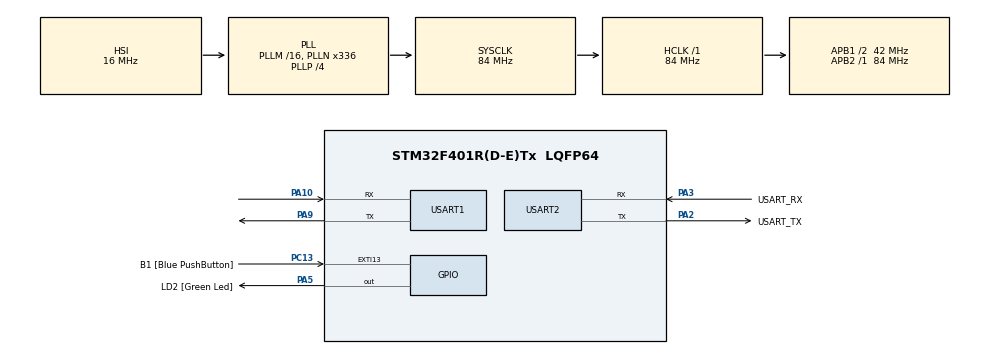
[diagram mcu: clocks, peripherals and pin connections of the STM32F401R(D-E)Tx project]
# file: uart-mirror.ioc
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MBEDTLS.MBEDTLS_RSA_C=1
Mcu.Family=STM32F4
Mcu.Name=STM32F401R(D-E)Tx
Mcu.Package=LQFP64
NVIC.PriorityGroup=NVIC_PRIORITYGROUP_0
NVIC.USART1_IRQn=true\:0\:0\:false\:false\:true\:true\:true
PA10.Mode=Asynchronous
PA10.Signal=USART1_RX
PA13.GPIO_Label=TMS
PA13.Mode=Serial_Wire
PA13.Signal=SYS_JTMS-SWDIO
PA14.GPIO_Label=TCK
PA14.Mode=Serial_Wire
PA14.Signal=SYS_JTCK-SWCLK
PA2.GPIO_Label=USART_TX
PA2.GPIO_Mode=GPIO_MODE_AF_PP
PA2.GPIO_PuPd=GPIO_NOPULL
PA2.GPIO_Speed=GPIO_SPEED_FREQ_LOW
PA2.Mode=Asynchronous
PA2.Signal=USART2_TX
PA3.GPIO_Label=USART_RX
PA3.GPIO_Mode=GPIO_MODE_AF_PP
PA3.GPIO_PuPd=GPIO_NOPULL
PA3.GPIO_Speed=GPIO_SPEED_FREQ_LOW
PA3.Mode=Asynchronous
PA3.Signal=USART2_RX
PA5.GPIO_Label=LD2 [Green Led]
PA5.GPIO_Mode=GPIO_MODE_OUTPUT_PP
PA5.GPIO_PuPd=GPIO_NOPULL
PA5.GPIO_Speed=GPIO_SPEED_FREQ_LOW
PA5.Signal=GPIO_Output
PA9.Mode=Asynchronous
PA9.Signal=USART1_TX
PB3.GPIO_Label=SWO
PB3.Signal=SYS_JTDO-SWO
PC13-ANTI_TAMP.GPIO_Label=B1 [Blue PushButton]
PC13-ANTI_TAMP.GPIO_ModeDefaultEXTI=GPIO_MODE_IT_FALLING
PC13-ANTI_TAMP.GPIO_PuPd=GPIO_NOPULL
PC13-ANTI_TAMP.Signal=GPXTI13
PC14-OSC32_IN.Mode=LSE-External-Oscillator
PC14-OSC32_IN.Signal=RCC_OSC32_IN
PC15-OSC32_OUT.Mode=LSE-External-Oscillator
PC15-OSC32_OUT.Signal=RCC_OSC32_OUT
PH0\ -\ OSC_IN.Mode=HSE-External-Clock-Source
PH0\ -\ OSC_IN.Signal=RCC_OSC_IN
PH1\ -\ OSC_OUT.Mode=HSE-External-Clock-Source
PH1\ -\ OSC_OUT.Signal=RCC_OSC_OUT
ProjectManager.HeapSize=0x200
ProjectManager.StackSize=0x400
ProjectManager.TargetToolchain=Makefile
RCC.48MHZClocksFreq_Value=48000000
RCC.AHBFreq_Value=84000000
RCC.APB1CLKDivider=RCC_HCLK_DIV2
RCC.APB1Freq_Value=42000000
RCC.APB1TimFreq_Value=84000000
RCC.APB2Freq_Value=84000000
RCC.APB2TimFreq_Value=84000000
RCC.CortexFreq_Value=84000000
RCC.HCLKFreq_Value=84000000
RCC.HSE_VALUE=8000000
RCC.HSI_VALUE=16000000
RCC.PLLN=336
RCC.PLLP=RCC_PLLP_DIV4
RCC.PLLQ=7
RCC.SYSCLKFreq_VALUE=84000000
RCC.SYSCLKSource=RCC_SYSCLKSOURCE_PLLCLK
RCC.VCOOutputFreq_Value=336000000
USART1.VirtualMode=VM_ASYNC
USART2.VirtualMode=VM_ASYNC
VP_IWDG_VS_IWDG.Mode=IWDG_Activate
VP_MBEDTLS_VS_MBEDTLS.Mode=Enabled
board=NUCLEO-F401RE

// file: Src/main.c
/* USER CODE BEGIN Header */
/**
  ******************************************************************************
  * @file           : main.c
  * @brief          : Main program body
  ******************************************************************************
  ** This notice applies to any and all portions of this file
  * that are not between comment pairs USER CODE BEGIN and
  * USER CODE END. Other portions of this file, whether
  * inserted by the user or by software development tools
  * are owned by their respective copyright owners.
  *
  * COPYRIGHT(c) 2019 STMicroelectronics
  *
  * Redistribution and use in source and binary forms, with or without modification,
  * are permitted provided that the following conditions are met:
  *   1. Redistributions of source code must retain the above copyright notice,
  *      this list of conditions and the following disclaimer.
  *   2. Redistributions in binary form must reproduce the above copyright notice,
  *      this list of conditions and the following disclaimer in the documentation
  *      and/or other materials provided with the distribution.
  *   3. Neither the name of STMicroelectronics nor the names of its contributors
  *      may be used to endorse or promote products derived from this software
  *      without specific prior written permission.
  *
  * THIS SOFTWARE IS PROVIDED BY THE COPYRIGHT HOLDERS AND CONTRIBUTORS "AS IS"
  * AND ANY EXPRESS OR IMPLIED WARRANTIES, INCLUDING, BUT NOT LIMITED TO, THE
  * IMPLIED WARRANTIES OF MERCHANTABILITY AND FITNESS FOR A PARTICULAR PURPOSE ARE
  * DISCLAIMED. IN NO EVENT SHALL THE COPYRIGHT HOLDER OR CONTRIBUTORS BE LIABLE
  * FOR ANY DIRECT, INDIRECT, INCIDENTAL, SPECIAL, EXEMPLARY, OR CONSEQUENTIAL
  * DAMAGES (INCLUDING, BUT NOT LIMITED TO, PROCUREMENT OF SUBSTITUTE GOODS OR
  * SERVICES; LOSS OF USE, DATA, OR PROFITS; OR BUSINESS INTERRUPTION) HOWEVER
  * CAUSED AND ON ANY THEORY OF LIABILITY, WHETHER IN CONTRACT, STRICT LIABILITY,
  * OR TORT (INCLUDING NEGLIGENCE OR OTHERWISE) ARISING IN ANY WAY OUT OF THE USE
  * OF THIS SOFTWARE, EVEN IF ADVISED OF THE POSSIBILITY OF SUCH DAMAGE.
  *
  ******************************************************************************
  */
/* USER CODE END Header */

#include "main.h"
#include "mbedtls.h"
#include "UART.h"

/* USER CODE BEGIN Includes */
#include <stdbool.h>
#include <time.h>
#include "mbedtls/memory_buffer_alloc.h"
#include "mbedtls/platform.h"
#include "mbedtls/md_internal.h"
#include "mbedtls/hmac_drbg.h"
#include "mbedtls/rsa.h"
#define MBEDTLS_MEMORY_VERIFY_ALLOC (1 << 0)
/* USER CODE END Includes */

IWDG_HandleTypeDef hiwdg;

UART_HandleTypeDef huart1;
UART_HandleTypeDef huart2;
mbedtls_hmac_drbg_context cont;
mbedtls_rsa_context rsa_cont;

/* USER CODE BEGIN PV */

static bool received = false;
unsigned strlen(const unsigned char* str){
  unsigned size = 0;
  for (; str[size] != '\0'; ++size);
  return size;
}
void HAL_UART_RxCpltCallback(UART_HandleTypeDef *huart)
{
  if (huart->Instance == USART1)
  {
    received = true;
  }
}

void UART_SEND(char *str) {
  HAL_UART_Transmit (&huart1, (unsigned char *)str,
      strlen((unsigned char *)str), 300);
}

void UART_SEND_LEN(const char *str, unsigned length) {
  HAL_UART_Transmit (&huart1, (unsigned char *)str,
      length, 300);
}

void myExit(int status) {
  if (status == 1)
    UART_SEND("exit with error code 1\n");
  else if (!status)
    UART_SEND("exit with normal error code\n");
  else
    UART_SEND("exit with random error code\n");
  return;
}

int mysnprintf(char* str, size_t n, const char* format, ...) {
  UART_SEND("snprintf called\n");
  return 0;
}

char convertToHexa(uint32_t u) {
  if (u <= 9)
    return u + '0';
  else if (u <= 15)
    return u - 10 + 'A';
  else {
    UART_SEND("tu code comme un pied");
    return '0';
  }
}

unsigned char val = 0;
void print_mpi_UART(mbedtls_mpi *mpi) {
  size_t n = mpi->n * 8 + 2;
  char buffer[n];
  size_t buffer_index = 0;

  for (size_t index = 0; index < mpi->n; index++) {
    uint32_t val = mpi->p[index];

    for (unsigned shift = 0; shift < 32; shift+=4) {
      buffer[buffer_index++] = convertToHexa( (val << shift) >> 28);
    }

  }

  for (; buffer_index < n; buffer_index++)
    buffer[buffer_index++] = '\0';

  UART_SEND(buffer);
}
#define DEBUG_MODE

bool keyGenerated = false;
void genKey() {
  const char *personalization = "dfajenFNXOmdfjacnI>ndfN";

  const mbedtls_md_info_t* md_info = mbedtls_md_info_from_type(MBEDTLS_MD_SHA256);

  HAL_Delay(1000);
  int error = mbedtls_hmac_drbg_seed_buf(&cont,
                                    md_info,
                                    (unsigned char *) personalization,
                                    strlen((const unsigned char*)personalization));
  //int error = mbedtls_ctr_drbg_seed(&rng_context, myfun, NULL,
  //    (unsigned char *) personalization, size);

  if (error != 0) {
    if (error == MBEDTLS_ERR_MD_BAD_INPUT_DATA) {
      UART_SEND("error1\n");
    }
    else if (error == MBEDTLS_ERR_MD_ALLOC_FAILED) {

      UART_SEND("error2\n");
    }
    else {
      UART_SEND("eror?\n");
    }

  }
  HAL_Delay(1000);
  error = mbedtls_rsa_gen_key(&rsa_cont, mbedtls_hmac_drbg_random, &cont, 1024, 65537);
  HAL_Delay(1000);

  print_mpi_UART(&rsa_cont.N);
  print_mpi_UART(&rsa_cont.E);
  UART_SEND("\n");
}

#define SHA256_SIZE 64
void signSHA256() {
  unsigned char sha256[SHA256_SIZE];
  unsigned char signedSHA[500];
  HAL_StatusTypeDef state;
  int error;

  while ((state = HAL_UART_Receive (&huart1, sha256, SHA256_SIZE, 3000)) != HAL_OK) {
    if (state == HAL_BUSY)
      UART_SEND("errorBUSY\n");
    else if (state == HAL_TIMEOUT)
      UART_SEND("errorTIMEOUT\n");
    else if (state == HAL_ERROR)
      UART_SEND("errorERROR\n");
  }

  HAL_Delay(100);
  UART_SEND_LEN((char *)sha256, SHA256_SIZE);
  UART_SEND("\n");

  error = mbedtls_rsa_rsassa_pkcs1_v15_sign(&rsa_cont, mbedtls_hmac_drbg_random, &cont,
      MBEDTLS_RSA_PRIVATE, MBEDTLS_MD_SHA256, SHA256_SIZE, sha256, signedSHA);

  HAL_Delay(100);
  if (error) {

    if (error == MBEDTLS_ERR_RSA_BAD_INPUT_DATA)
      UART_SEND("error: signature failed input\n");
    else
      UART_SEND("error: signature failed\n");

  } else {
    HAL_UART_Transmit (&huart1, signedSHA, sizeof(signedSHA) , 300);
    UART_SEND("\n");
  }
}

/* USER CODE END PV */

void SystemClock_Config(void);
static void MX_GPIO_Init(void);
static void MX_USART2_UART_Init(void);
static void MX_USART1_UART_Init(void);
//static void MX_IWDG_Init(void);

int main(void)
{
  /* useR CODE BEGIN 1 */
//allows for stack allocation
#define MEM_BUFF_SIZE 10000
  unsigned char memory_buffer[MEM_BUFF_SIZE];
  mbedtls_memory_buffer_alloc_init(memory_buffer, MEM_BUFF_SIZE);

  mbedtls_platform_set_exit(myExit);
  mbedtls_platform_set_snprintf(mysnprintf);

  /* USER CODE END 1 */

  /* MCU Configuration--------------------------------------------------------*/

  /* Reset of all peripherals, Initializes the Flash interface and the Systick. */
  HAL_Init();

  /* USER CODE BEGIN Init */
  mbedtls_hmac_drbg_init(&cont);
  mbedtls_rsa_init(&rsa_cont, MBEDTLS_RSA_PKCS_V15, 0);

  /* USER CODE END Init */

  /* Configure the system clock */
  SystemClock_Config();

  /* Initialize all configured peripherals */
  MX_GPIO_Init();
  MX_USART2_UART_Init();
  MX_USART1_UART_Init();
  //MX_IWDG_Init();
  MX_MBEDTLS_Init();

  /* Infinite loop */
  while (1)
  {

    /* USER CODE BEGIN 3 */
    __WFE ();

    /* if rsa exist
     *   load
     * else
     * */

  }
  /* USER CODE END 3 */
}

void SystemClock_Config(void)
{
  RCC_OscInitTypeDef RCC_OscInitStruct = {0};
  RCC_ClkInitTypeDef RCC_ClkInitStruct = {0};

  /** Configure the main internal regulator output voltage
  */
  __HAL_RCC_PWR_CLK_ENABLE();
  __HAL_PWR_VOLTAGESCALING_CONFIG(PWR_REGULATOR_VOLTAGE_SCALE2);
  /** Initializes the CPU, AHB and APB busses clocks
  */
  RCC_OscInitStruct.OscillatorType = RCC_OSCILLATORTYPE_HSI|RCC_OSCILLATORTYPE_LSI;
  RCC_OscInitStruct.HSIState = RCC_HSI_ON;
  RCC_OscInitStruct.HSICalibrationValue = RCC_HSICALIBRATION_DEFAULT;
  RCC_OscInitStruct.LSIState = RCC_LSI_ON;
  RCC_OscInitStruct.PLL.PLLState = RCC_PLL_ON;
  RCC_OscInitStruct.PLL.PLLSource = RCC_PLLSOURCE_HSI;
  RCC_OscInitStruct.PLL.PLLM = 16;
  RCC_OscInitStruct.PLL.PLLN = 336;
  RCC_OscInitStruct.PLL.PLLP = RCC_PLLP_DIV4;
  RCC_OscInitStruct.PLL.PLLQ = 7;
  if (HAL_RCC_OscConfig(&RCC_OscInitStruct) != HAL_OK)
  {
    Error_Handler();
  }
  /** Initializes the CPU, AHB and APB busses clocks
  */
  RCC_ClkInitStruct.ClockType = RCC_CLOCKTYPE_HCLK|RCC_CLOCKTYPE_SYSCLK
                              |RCC_CLOCKTYPE_PCLK1|RCC_CLOCKTYPE_PCLK2;
  RCC_ClkInitStruct.SYSCLKSource = RCC_SYSCLKSOURCE_PLLCLK;
  RCC_ClkInitStruct.AHBCLKDivider = RCC_SYSCLK_DIV1;
  RCC_ClkInitStruct.APB1CLKDivider = RCC_HCLK_DIV2;
  RCC_ClkInitStruct.APB2CLKDivider = RCC_HCLK_DIV1;

  if (HAL_RCC_ClockConfig(&RCC_ClkInitStruct, FLASH_LATENCY_2) != HAL_OK)
  {
    Error_Handler();
  }
}

/*
static void MX_IWDG_Init(void)
{

  hiwdg.Instance = IWDG;
  hiwdg.Init.Prescaler = IWDG_PRESCALER_4;
  hiwdg.Init.Reload = 4095;
  if (HAL_IWDG_Init(&hiwdg) != HAL_OK)
  {
    Error_Handler();
  }

}*/

static void MX_USART1_UART_Init(void)
{

  huart1.Instance = USART1;
  huart1.Init.BaudRate = 115200;
  huart1.Init.WordLength = UART_WORDLENGTH_8B;
  huart1.Init.StopBits = UART_STOPBITS_1;
  huart1.Init.Parity = UART_PARITY_NONE;
  huart1.Init.Mode = UART_MODE_TX_RX;
  huart1.Init.HwFlowCtl = UART_HWCONTROL_NONE;
  huart1.Init.OverSampling = UART_OVERSAMPLING_16;
  if (HAL_UART_Init(&huart1) != HAL_OK)
  {
    Error_Handler();
  }

}

static void MX_USART2_UART_Init(void)
{

  huart2.Instance = USART2;
  huart2.Init.BaudRate = 115200;
  huart2.Init.WordLength = UART_WORDLENGTH_8B;
  huart2.Init.StopBits = UART_STOPBITS_1;
  huart2.Init.Parity = UART_PARITY_NONE;
  huart2.Init.Mode = UART_MODE_TX_RX;
  huart2.Init.HwFlowCtl = UART_HWCONTROL_NONE;
  huart2.Init.OverSampling = UART_OVERSAMPLING_16;
  if (HAL_UART_Init(&huart2) != HAL_OK)
  {
    Error_Handler();
  }

}

static void MX_GPIO_Init(void)
{
  GPIO_InitTypeDef GPIO_InitStruct = {0};

  /* GPIO Ports Clock Enable */
  __HAL_RCC_GPIOC_CLK_ENABLE();
  __HAL_RCC_GPIOH_CLK_ENABLE();
  __HAL_RCC_GPIOA_CLK_ENABLE();
  __HAL_RCC_GPIOB_CLK_ENABLE();

  /*Configure GPIO pin Output Level */
  HAL_GPIO_WritePin(LD2_GPIO_Port, LD2_Pin, GPIO_PIN_RESET);

  /*Configure GPIO pin : B1_Pin */
  GPIO_InitStruct.Pin = B1_Pin;
  GPIO_InitStruct.Mode = GPIO_MODE_IT_FALLING;
  GPIO_InitStruct.Pull = GPIO_NOPULL;
  HAL_GPIO_Init(B1_GPIO_Port, &GPIO_InitStruct);

  /*Configure GPIO pin : LD2_Pin */
  GPIO_InitStruct.Pin = LD2_Pin;
  GPIO_InitStruct.Mode = GPIO_MODE_OUTPUT_PP;
  GPIO_InitStruct.Pull = GPIO_NOPULL;
  GPIO_InitStruct.Speed = GPIO_SPEED_FREQ_LOW;
  HAL_GPIO_Init(LD2_GPIO_Port, &GPIO_InitStruct);

}

void Error_Handler(void)
{
}

/************************ (C) COPYRIGHT STMicroelectronics *****END OF FILE****/
